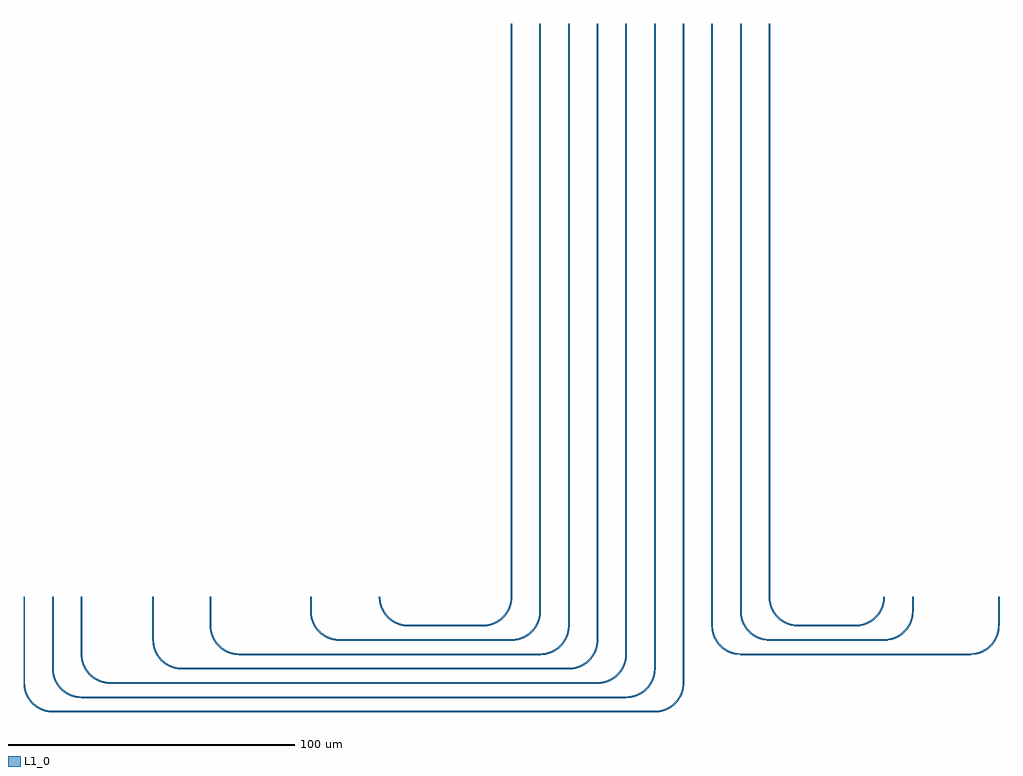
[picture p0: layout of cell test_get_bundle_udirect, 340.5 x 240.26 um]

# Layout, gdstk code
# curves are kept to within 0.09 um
from math import pi, radians
import gdstk
lib = gdstk.Library(unit=1e-6, precision=1e-09)
def R(c, l, rs):  # rectangles x0, y0, x1, y1
    for r in rs: c.add(gdstk.rectangle(r[:2], r[2:], *l))
def P(c, l, *ps):  # polygons
    for p in ps: c.add(gdstk.Polygon(p, *l))
L1_0 = (1, 0)

bend_circular_cross_sec_ = lib.new_cell('bend_circular_cross_sec_81c7ebae')
P(bend_circular_cross_sec_, L1_0, [(0,-0.25),(1.967,-0.06),(3.013,0.203),(3.943,0.539),(5.685,1.471),(7.216,2.72),(8.479,4.24),(9.037,5.163),(9.461,6.057),(9.797,6.987),(10.06,8.033),(10.25,10),(9.75,10),(9.687,8.89),(9.516,7.878),(9.185,6.728),(8.79,5.781),(7.968,4.38),(6.924,3.136),(5.62,2.032),(4.219,1.21),(3.272,0.815),(2.122,0.484),(1.11,0.313),(0,0.25)])

straight_cross_sectionc_ = lib.new_cell('straight_cross_sectionc_aca44847')
R(straight_cross_sectionc_, L1_0, [(0,-0.25,0.01,0.25)])

c_straight_cross_sectionc_ = lib.new_cell('straight_cross_sectionc_ff50ec07')
R(c_straight_cross_sectionc_, L1_0, [(0,-0.25,26,0.25)])

taper_cross_sectioncros_ = lib.new_cell('taper_cross_sectioncros_b20f334d')
R(taper_cross_sectioncros_, L1_0, [(0,-0.25,10,0.25)])

c_straight_cross_sectionc__ = lib.new_cell('straight_cross_sectionc_ab99275b')
R(c_straight_cross_sectionc__, L1_0, [(0,-0.25,180.01,0.25)])

c_straight_cross_sectionc___ = lib.new_cell('straight_cross_sectionc_0009f424')
R(c_straight_cross_sectionc___, L1_0, [(0,-0.25,5.01,0.25)])

c_straight_cross_sectionc____ = lib.new_cell('straight_cross_sectionc_dee0f62e')
R(c_straight_cross_sectionc____, L1_0, [(0,-0.25,60,0.25)])

c_straight_cross_sectionc_____ = lib.new_cell('straight_cross_sectionc_44d9d7ed')
R(c_straight_cross_sectionc_____, L1_0, [(0,-0.25,185.01,0.25)])

c_straight_cross_sectionc______ = lib.new_cell('straight_cross_sectionc_236e7ba1')
R(c_straight_cross_sectionc______, L1_0, [(0,-0.25,10.01,0.25)])

c_straight_cross_sectionc_______ = lib.new_cell('straight_cross_sectionc_6b5082da')
R(c_straight_cross_sectionc_______, L1_0, [(0,-0.25,105,0.25)])

c_straight_cross_sectionc________ = lib.new_cell('straight_cross_sectionc_f52c6456')
R(c_straight_cross_sectionc________, L1_0, [(0,-0.25,190.01,0.25)])

c_straight_cross_sectionc_________ = lib.new_cell('straight_cross_sectionc_7b91e607')
R(c_straight_cross_sectionc_________, L1_0, [(0,-0.25,15.01,0.25)])

c_straight_cross_sectionc__________ = lib.new_cell('straight_cross_sectionc_d98ebbe7')
R(c_straight_cross_sectionc__________, L1_0, [(0,-0.25,135,0.25)])

c_straight_cross_sectionc___________ = lib.new_cell('straight_cross_sectionc_9d884c6d')
R(c_straight_cross_sectionc___________, L1_0, [(0,-0.25,195.01,0.25)])

c_straight_cross_sectionc____________ = lib.new_cell('straight_cross_sectionc_2ac3342b')
R(c_straight_cross_sectionc____________, L1_0, [(0,-0.25,20.01,0.25)])

c_straight_cross_sectionc_____________ = lib.new_cell('straight_cross_sectionc_ec188cb9')
R(c_straight_cross_sectionc_____________, L1_0, [(0,-0.25,170,0.25)])

c_straight_cross_sectionc______________ = lib.new_cell('straight_cross_sectionc_b4956510')
R(c_straight_cross_sectionc______________, L1_0, [(0,-0.25,200.01,0.25)])

c_straight_cross_sectionc_______________ = lib.new_cell('straight_cross_sectionc_09b9c956')
R(c_straight_cross_sectionc_______________, L1_0, [(0,-0.25,25.01,0.25)])

c_straight_cross_sectionc________________ = lib.new_cell('straight_cross_sectionc_0adfa845')
R(c_straight_cross_sectionc________________, L1_0, [(0,-0.25,190,0.25)])

c_straight_cross_sectionc_________________ = lib.new_cell('straight_cross_sectionc_b9e9a6c8')
R(c_straight_cross_sectionc_________________, L1_0, [(0,-0.25,205.01,0.25)])

c_straight_cross_sectionc__________________ = lib.new_cell('straight_cross_sectionc_b49eb72f')
R(c_straight_cross_sectionc__________________, L1_0, [(0,-0.25,30.01,0.25)])

c_straight_cross_sectionc___________________ = lib.new_cell('straight_cross_sectionc_0fa75f9a')
R(c_straight_cross_sectionc___________________, L1_0, [(0,-0.25,190,0.25)])

c_straight_cross_sectionc____________________ = lib.new_cell('straight_cross_sectionc_b9691882')
R(c_straight_cross_sectionc____________________, L1_0, [(0,-0.25,210.01,0.25)])

c_straight_cross_sectionc_____________________ = lib.new_cell('straight_cross_sectionc_7da930e0')
R(c_straight_cross_sectionc_____________________, L1_0, [(0,-0.25,20,0.25)])

c_straight_cross_sectionc______________________ = lib.new_cell('straight_cross_sectionc_50dadeaf')
R(c_straight_cross_sectionc______________________, L1_0, [(0,-0.25,40,0.25)])

c_straight_cross_sectionc_______________________ = lib.new_cell('straight_cross_sectionc_bb7832c5')
R(c_straight_cross_sectionc_______________________, L1_0, [(0,-0.25,80,0.25)])

test_get_bundle_udirect = lib.new_cell('test_get_bundle_udirect')
test_get_bundle_udirect.add(gdstk.Reference(bend_circular_cross_sec_, (24,-0.01), rotation=3*pi/2))
test_get_bundle_udirect.add(gdstk.Reference(bend_circular_cross_sec_, (60,-10.01)))
test_get_bundle_udirect.add(gdstk.Reference(straight_cross_sectionc_, (24,0), rotation=3*pi/2))
test_get_bundle_udirect.add(gdstk.Reference(c_straight_cross_sectionc_, (34,-10.01)))
test_get_bundle_udirect.add(gdstk.Reference(taper_cross_sectioncros_, (70,-0.01), rotation=pi/2))
test_get_bundle_udirect.add(gdstk.Reference(c_straight_cross_sectionc__, (70,9.99), rotation=pi/2))
test_get_bundle_udirect.add(gdstk.Reference(taper_cross_sectioncros_, (70,200), rotation=3*pi/2))
test_get_bundle_udirect.add(gdstk.Reference(bend_circular_cross_sec_, (0,-5.01), rotation=3*pi/2))
test_get_bundle_udirect.add(gdstk.Reference(bend_circular_cross_sec_, (70,-15.01)))
test_get_bundle_udirect.add(gdstk.Reference(c_straight_cross_sectionc___, (0,0), rotation=3*pi/2))
test_get_bundle_udirect.add(gdstk.Reference(c_straight_cross_sectionc____, (10,-15.01)))
test_get_bundle_udirect.add(gdstk.Reference(taper_cross_sectioncros_, (80,-5.01), rotation=pi/2))
test_get_bundle_udirect.add(gdstk.Reference(c_straight_cross_sectionc_____, (80,4.99), rotation=pi/2))
test_get_bundle_udirect.add(gdstk.Reference(taper_cross_sectioncros_, (80,200), rotation=3*pi/2))
test_get_bundle_udirect.add(gdstk.Reference(bend_circular_cross_sec_, (-35,-10.01), rotation=3*pi/2))
test_get_bundle_udirect.add(gdstk.Reference(bend_circular_cross_sec_, (80,-20.01)))
test_get_bundle_udirect.add(gdstk.Reference(c_straight_cross_sectionc______, (-35,0), rotation=3*pi/2))
test_get_bundle_udirect.add(gdstk.Reference(c_straight_cross_sectionc_______, (-25,-20.01)))
test_get_bundle_udirect.add(gdstk.Reference(taper_cross_sectioncros_, (90,-10.01), rotation=pi/2))
test_get_bundle_udirect.add(gdstk.Reference(c_straight_cross_sectionc________, (90,-0.01), rotation=pi/2))
test_get_bundle_udirect.add(gdstk.Reference(taper_cross_sectioncros_, (90,200), rotation=3*pi/2))
test_get_bundle_udirect.add(gdstk.Reference(bend_circular_cross_sec_, (-55,-15.01), rotation=3*pi/2))
test_get_bundle_udirect.add(gdstk.Reference(bend_circular_cross_sec_, (90,-25.01)))
test_get_bundle_udirect.add(gdstk.Reference(c_straight_cross_sectionc_________, (-55,0), rotation=3*pi/2))
test_get_bundle_udirect.add(gdstk.Reference(c_straight_cross_sectionc__________, (-45,-25.01)))
test_get_bundle_udirect.add(gdstk.Reference(taper_cross_sectioncros_, (100,-15.01), rotation=pi/2))
test_get_bundle_udirect.add(gdstk.Reference(c_straight_cross_sectionc___________, (100,-5.01), rotation=pi/2))
test_get_bundle_udirect.add(gdstk.Reference(taper_cross_sectioncros_, (100,200), rotation=3*pi/2))
test_get_bundle_udirect.add(gdstk.Reference(bend_circular_cross_sec_, (-80,-20.01), rotation=3*pi/2))
test_get_bundle_udirect.add(gdstk.Reference(bend_circular_cross_sec_, (100,-30.01)))
test_get_bundle_udirect.add(gdstk.Reference(c_straight_cross_sectionc____________, (-80,0), rotation=3*pi/2))
test_get_bundle_udirect.add(gdstk.Reference(c_straight_cross_sectionc_____________, (-70,-30.01)))
test_get_bundle_udirect.add(gdstk.Reference(taper_cross_sectioncros_, (110,-20.01), rotation=pi/2))
test_get_bundle_udirect.add(gdstk.Reference(c_straight_cross_sectionc______________, (110,-10.01), rotation=pi/2))
test_get_bundle_udirect.add(gdstk.Reference(taper_cross_sectioncros_, (110,200), rotation=3*pi/2))
test_get_bundle_udirect.add(gdstk.Reference(bend_circular_cross_sec_, (-90,-25.01), rotation=3*pi/2))
test_get_bundle_udirect.add(gdstk.Reference(bend_circular_cross_sec_, (110,-35.01)))
test_get_bundle_udirect.add(gdstk.Reference(c_straight_cross_sectionc_______________, (-90,0), rotation=3*pi/2))
test_get_bundle_udirect.add(gdstk.Reference(c_straight_cross_sectionc________________, (-80,-35.01)))
test_get_bundle_udirect.add(gdstk.Reference(taper_cross_sectioncros_, (120,-25.01), rotation=pi/2))
test_get_bundle_udirect.add(gdstk.Reference(c_straight_cross_sectionc_________________, (120,-15.01), rotation=pi/2))
test_get_bundle_udirect.add(gdstk.Reference(taper_cross_sectioncros_, (120,200), rotation=3*pi/2))
test_get_bundle_udirect.add(gdstk.Reference(bend_circular_cross_sec_, (-100,-30.01), rotation=3*pi/2))
test_get_bundle_udirect.add(gdstk.Reference(bend_circular_cross_sec_, (120,-40.01)))
test_get_bundle_udirect.add(gdstk.Reference(c_straight_cross_sectionc__________________, (-100,0), rotation=3*pi/2))
test_get_bundle_udirect.add(gdstk.Reference(taper_cross_sectioncros_, (-90,-40.01)))
test_get_bundle_udirect.add(gdstk.Reference(c_straight_cross_sectionc___________________, (-80,-40.01)))
test_get_bundle_udirect.add(gdstk.Reference(taper_cross_sectioncros_, (120,-40.01), rotation=pi))
test_get_bundle_udirect.add(gdstk.Reference(taper_cross_sectioncros_, (130,-30.01), rotation=pi/2))
test_get_bundle_udirect.add(gdstk.Reference(c_straight_cross_sectionc____________________, (130,-20.01), rotation=pi/2))
test_get_bundle_udirect.add(gdstk.Reference(taper_cross_sectioncros_, (130,200), rotation=3*pi/2))
test_get_bundle_udirect.add(gdstk.Reference(bend_circular_cross_sec_, (200,-0.01), rotation=3*pi/2, x_reflection=True))
test_get_bundle_udirect.add(gdstk.Reference(bend_circular_cross_sec_, (170,-10.01), rotation=pi, x_reflection=True))
test_get_bundle_udirect.add(gdstk.Reference(straight_cross_sectionc_, (200,0), rotation=3*pi/2))
test_get_bundle_udirect.add(gdstk.Reference(c_straight_cross_sectionc_____________________, (190,-10.01), rotation=pi))
test_get_bundle_udirect.add(gdstk.Reference(taper_cross_sectioncros_, (160,-0.01), rotation=pi/2))
test_get_bundle_udirect.add(gdstk.Reference(c_straight_cross_sectionc__, (160,9.99), rotation=pi/2))
test_get_bundle_udirect.add(gdstk.Reference(taper_cross_sectioncros_, (160,200), rotation=3*pi/2))
test_get_bundle_udirect.add(gdstk.Reference(bend_circular_cross_sec_, (210,-5.01), rotation=3*pi/2, x_reflection=True))
test_get_bundle_udirect.add(gdstk.Reference(bend_circular_cross_sec_, (160,-15.01), rotation=pi, x_reflection=True))
test_get_bundle_udirect.add(gdstk.Reference(c_straight_cross_sectionc___, (210,0), rotation=3*pi/2))
test_get_bundle_udirect.add(gdstk.Reference(c_straight_cross_sectionc______________________, (200,-15.01), rotation=pi))
test_get_bundle_udirect.add(gdstk.Reference(taper_cross_sectioncros_, (150,-5.01), rotation=pi/2))
test_get_bundle_udirect.add(gdstk.Reference(c_straight_cross_sectionc_____, (150,4.99), rotation=pi/2))
test_get_bundle_udirect.add(gdstk.Reference(taper_cross_sectioncros_, (150,200), rotation=3*pi/2))
test_get_bundle_udirect.add(gdstk.Reference(bend_circular_cross_sec_, (240,-10.01), rotation=3*pi/2, x_reflection=True))
test_get_bundle_udirect.add(gdstk.Reference(bend_circular_cross_sec_, (150,-20.01), rotation=pi, x_reflection=True))
test_get_bundle_udirect.add(gdstk.Reference(c_straight_cross_sectionc______, (240,0), rotation=3*pi/2))
test_get_bundle_udirect.add(gdstk.Reference(c_straight_cross_sectionc_______________________, (230,-20.01), rotation=pi))
test_get_bundle_udirect.add(gdstk.Reference(taper_cross_sectioncros_, (140,-10.01), rotation=pi/2))
test_get_bundle_udirect.add(gdstk.Reference(c_straight_cross_sectionc________, (140,-0.01), rotation=pi/2))
test_get_bundle_udirect.add(gdstk.Reference(taper_cross_sectioncros_, (140,200), rotation=3*pi/2))

lib.write_gds('test_get_bundle_udirect.gds')
